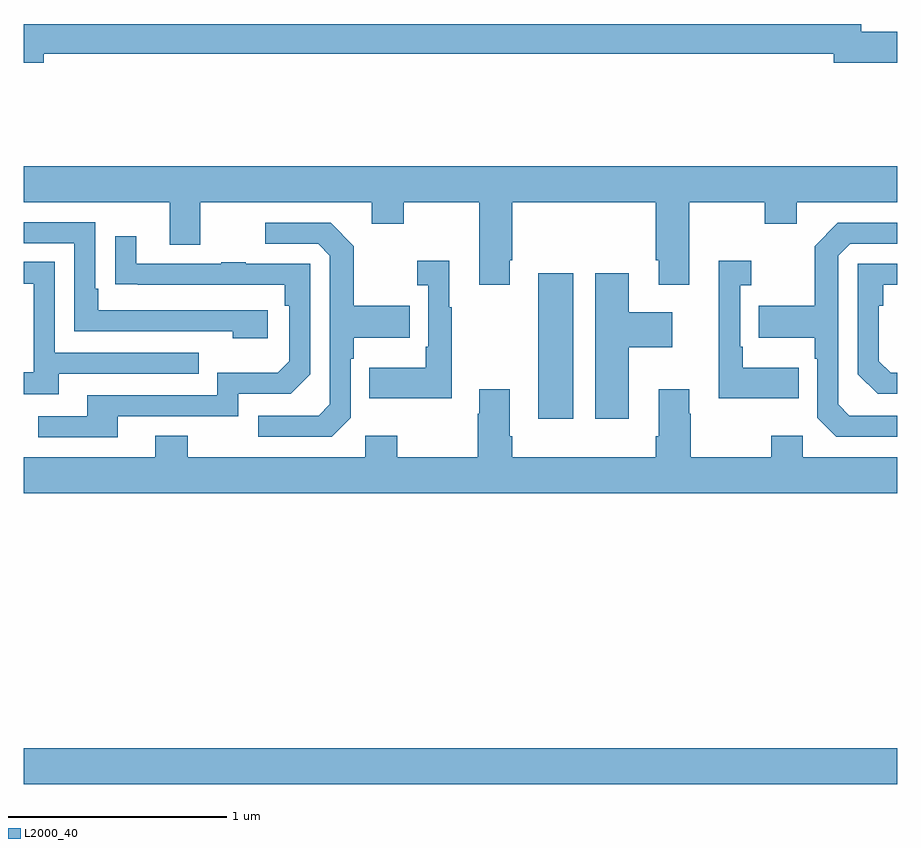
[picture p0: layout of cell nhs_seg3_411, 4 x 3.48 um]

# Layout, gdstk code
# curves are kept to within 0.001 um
import gdstk
lib = gdstk.Library(unit=1e-6, precision=1e-09)
def R(c, l, rs):  # rectangles x0, y0, x1, y1
    for r in rs: c.add(gdstk.rectangle(r[:2], r[2:], *l))
def P(c, l, *ps):  # polygons
    for p in ps: c.add(gdstk.Polygon(p, *l))
L2000_40 = (2000, 40)

nhs_seg3_411 = lib.new_cell('nhs_seg3_411')
R(nhs_seg3_411, L2000_40, [(131,708.908,135,709.072), (133.355,710.58,133.516,711.247)])
P(nhs_seg3_411, L2000_40, [(131.092,712.252),(134.708,712.252),(134.708,712.21),(135,712.21),(135,712.352),(134.836,712.352),(134.836,712.388),(131,712.388),(131,712.21),(131.092,712.21)],
  [(133.225,711.307),(133.238,711.307),(133.238,711.572),(133.895,711.572),(133.895,711.307),(133.907,711.307),(133.907,711.195),(134.047,711.195),(134.047,711.572),(134.392,711.572),(134.392,711.473),(134.539,711.473),(134.539,711.572),(135,711.572),(135,711.736),(131,711.736),(131,711.572),(131.669,711.572),(131.669,711.378),(131.809,711.378),(131.809,711.572),(132.593,711.572),(132.593,711.473),(132.741,711.473),(132.741,711.572),(133.085,711.572),(133.085,711.195),(133.225,711.195)],
  [(132.118,711.078),(131.341,711.078),(131.341,711.175),(131.328,711.175),(131.328,711.48),(131,711.48),(131,711.384),(131.232,711.384),(131.232,710.982),(131.957,710.982),(131.957,710.948),(132.118,710.948)],
  [(132.498,710.586),(132.498,710.855),(132.511,710.855),(132.511,710.951),(132.767,710.951),(132.767,711.099),(132.511,711.099),(132.511,711.371),(132.405,711.477),(132.105,711.477),(132.105,711.381),(132.348,711.381),(132.402,711.327),(132.402,710.646),(132.351,710.595),(132.075,710.595),(132.075,710.499),(132.411,710.499)],
  [(135,710.595),(134.781,710.595),(134.73,710.646),(134.73,711.327),(134.784,711.381),(135,711.381),(135,711.477),(134.727,711.477),(134.622,711.371),(134.622,711.099),(134.365,711.099),(134.365,710.951),(134.622,710.951),(134.622,710.855),(134.634,710.855),(134.634,710.586),(134.721,710.499),(135,710.499)],
  [(131.431,710.592),(131.982,710.592),(131.982,710.694),(132.222,710.694),(132.312,710.784),(132.312,711.291),(132.017,711.291),(132.017,711.296),(131.905,711.296),(131.905,711.291),(131.515,711.291),(131.515,711.415),(131.419,711.415),(131.419,711.196),(132.196,711.195),(132.196,711.098),(132.216,711.098),(132.216,710.844),(132.163,710.791),(131.886,710.791),(131.886,710.688),(131.291,710.688),(131.291,710.592),(131.067,710.592),(131.067,710.496),(131.431,710.496)],
  [(132.961,711.091),(132.949,711.091),(132.949,711.304),(132.801,711.304),(132.801,711.191),(132.852,711.191),(132.852,710.911),(132.84,710.911),(132.84,710.815),(132.583,710.815),(132.583,710.675),(132.961,710.675)],
  [(134.549,710.815),(134.293,710.815),(134.293,710.911),(134.28,710.911),(134.28,711.191),(134.332,711.191),(134.332,711.304),(134.183,711.304),(134.183,710.675),(134.549,710.675)],
  [(131.161,710.787),(131.801,710.787),(131.801,710.883),(131.142,710.883),(131.142,711.299),(131,711.299),(131,711.198),(131.046,711.198),(131.046,710.793),(131,710.793),(131,710.693),(131.161,710.693)],
  [(135,710.791),(134.969,710.791),(134.916,710.844),(134.916,711.098),(134.936,711.098),(134.936,711.195),(135,711.195),(135,711.291),(134.82,711.291),(134.82,710.784),(134.91,710.694),(135,710.694)],
  [(133.771,710.909),(133.969,710.909),(133.969,711.067),(133.771,711.067),(133.771,711.247),(133.616,711.247),(133.616,710.58),(133.771,710.58)],
  [(135,710.404),(134.568,710.404),(134.568,710.503),(134.422,710.503),(134.422,710.404),(134.055,710.404),(134.055,710.603),(134.047,710.603),(134.047,710.716),(133.907,710.716),(133.907,710.5),(133.895,710.5),(133.895,710.404),(133.238,710.404),(133.238,710.5),(133.225,710.5),(133.225,710.716),(133.085,710.716),(133.085,710.603),(133.078,710.603),(133.078,710.404),(132.711,710.404),(132.711,710.503),(132.564,710.503),(132.564,710.404),(131.751,710.404),(131.751,710.503),(131.603,710.503),(131.603,710.404),(131,710.404),(131,710.24),(135,710.24)])

lib.write_gds('nhs_seg3_411.gds')
